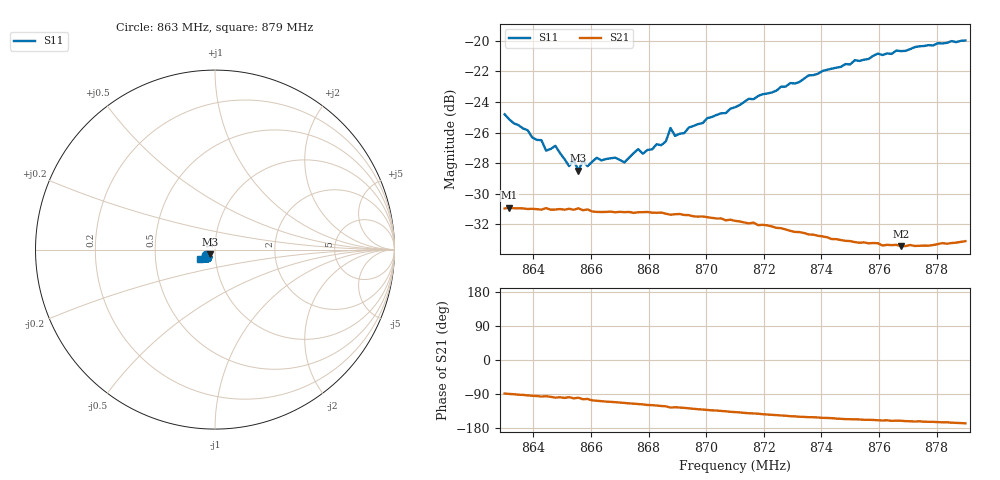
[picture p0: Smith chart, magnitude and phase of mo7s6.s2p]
# HZ S RI R 50
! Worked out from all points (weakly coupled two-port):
!   101 points, 863 MHz to 879 MHz, reference 50 ohm
!   highest |S21| = -30.89 dB at 863.16 MHz (marker M1); lowest = -33.4 dB at 876.76 MHz (marker M2)
!   lowest |S11| = -28.5 dB at 865.56 MHz (marker M3), VSWR 1.08, Z = 47.4 - j2.57 ohm
!   |S11| at or under -10 dB: start of sweep to end of sweep
!   S12 and S22 are empty: the file has one direction only
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8.63e8  -0.0505 -0.0276  0.000848 -0.0283  0 0  0 0
8.6316e8  -0.0492 -0.0255  0.00019 -0.0285  0 0  0 0
8.6428e8  -0.0419 -0.0221  -0.00318 -0.0279  0 0  0 0
8.6444e8  -0.0361 -0.0247  -0.00281 -0.0283  0 0  0 0
8.6476e8  -0.037 -0.0264  -0.00459 -0.0277  0 0  0 0
8.6524e8  -0.0289 -0.0262  -0.00396 -0.028  0 0  0 0
8.654e8  -0.0306 -0.0269  -0.00544 -0.0275  0 0  0 0
8.6556e8  -0.0263 -0.0271  -0.00471 -0.028  0 0  0 0
8.6572e8  -0.0288 -0.0286  -0.00656 -0.0272  0 0  0 0
8.6588e8  -0.0266 -0.0284  -0.0062 -0.0274  0 0  0 0
8.6716e8  -0.0225 -0.0331  -0.0109 -0.0253  0 0  0 0
8.6764e8  -0.0231 -0.0378  -0.0122 -0.0247  0 0  0 0
8.678e8  -0.0219 -0.0367  -0.0126 -0.0245  0 0  0 0
8.6844e8  -0.0202 -0.0409  -0.0143 -0.0235  0 0  0 0
8.6876e8  -0.0242 -0.0459  -0.0157 -0.022  0 0  0 0
8.6892e8  -0.0201 -0.0446  -0.0154 -0.0223  0 0  0 0
8.6924e8  -0.0213 -0.0452  -0.016 -0.0217  0 0  0 0
8.71e8  -0.0257 -0.0549  -0.019 -0.0174  0 0  0 0
8.7372e8  -0.0396 -0.0663  -0.0204 -0.0113  0 0  0 0
8.7644e8  -0.0643 -0.0639  -0.0203 -0.00719  0 0  0 0
8.7676e8  -0.0673 -0.0636  -0.0201 -0.00722  0 0  0 0
8.79e8  -0.0863 -0.051  -0.0216 -0.00498  0 0  0 0
